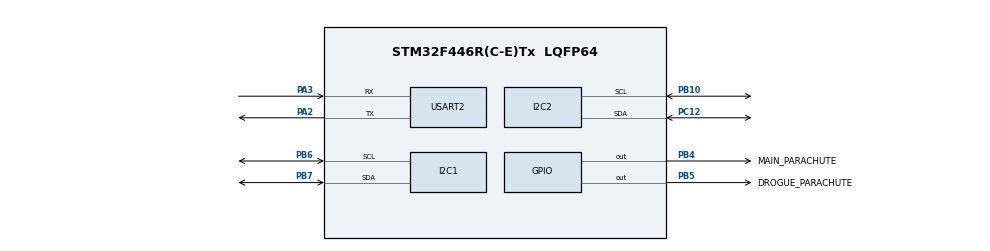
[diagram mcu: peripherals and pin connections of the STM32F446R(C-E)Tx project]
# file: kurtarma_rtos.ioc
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Dma.Request0=USART2_RX
Dma.Request1=USART2_TX
Dma.USART2_RX.0.Direction=DMA_PERIPH_TO_MEMORY
Dma.USART2_RX.0.FIFOMode=DMA_FIFOMODE_DISABLE
Dma.USART2_RX.0.Instance=DMA1_Stream5
Dma.USART2_RX.0.MemDataAlignment=DMA_MDATAALIGN_BYTE
Dma.USART2_RX.0.MemInc=DMA_MINC_ENABLE
Dma.USART2_RX.0.Mode=DMA_NORMAL
Dma.USART2_RX.0.PeriphDataAlignment=DMA_PDATAALIGN_BYTE
Dma.USART2_RX.0.PeriphInc=DMA_PINC_DISABLE
Dma.USART2_RX.0.Priority=DMA_PRIORITY_LOW
Dma.USART2_TX.1.Direction=DMA_MEMORY_TO_PERIPH
Dma.USART2_TX.1.FIFOMode=DMA_FIFOMODE_DISABLE
Dma.USART2_TX.1.Instance=DMA1_Stream6
Dma.USART2_TX.1.MemDataAlignment=DMA_MDATAALIGN_BYTE
Dma.USART2_TX.1.MemInc=DMA_MINC_ENABLE
Dma.USART2_TX.1.Mode=DMA_NORMAL
Dma.USART2_TX.1.PeriphDataAlignment=DMA_PDATAALIGN_BYTE
Dma.USART2_TX.1.PeriphInc=DMA_PINC_DISABLE
Dma.USART2_TX.1.Priority=DMA_PRIORITY_LOW
FREERTOS.Mutexes01=SensorDataMutex,Dynamic,NULL,Available
FREERTOS.Tasks01=defaultTask,24,128,StartDefaultTask,Default,NULL,Dynamic,NULL,NULL;UARTYazdirma,8,256,TransferUARTData,Default,NULL,Dynamic,NULL,NULL;SensorVeriCekme,40,256,PullSensorData,Default,NULL,Dynamic,NULL,NULL;Algoritma,32,256,AlgorithmSwitch,Default,NULL,Dynamic,NULL,NULL;UARTDinleme,24,128,ReceiveUARTData,Default,NULL,Dynamic,NULL,NULL;BMP180Okuma,40,128,BMP180Read,Default,NULL,Dynamic,NULL,NULL;BNO055Okuma,8,128,BNO055Read,Default,NULL,Dynamic,NULL,NULL
FREERTOS.configUSE_NEWLIB_REENTRANT=1
Mcu.Family=STM32F4
Mcu.Name=STM32F446R(C-E)Tx
Mcu.Package=LQFP64
NVIC.DMA1_Stream5_IRQn=true\:5\:0\:false\:false\:true\:true\:false\:true\:true
NVIC.DMA1_Stream6_IRQn=true\:5\:0\:false\:false\:true\:true\:false\:true\:true
NVIC.PVD_IRQn=true\:5\:0\:false\:false\:true\:true\:true\:true\:true
NVIC.PriorityGroup=NVIC_PRIORITYGROUP_4
NVIC.TIM6_DAC_IRQn=true\:15\:0\:false\:false\:true\:false\:false\:true\:true
NVIC.TimeBase=TIM6_DAC_IRQn
NVIC.TimeBaseIP=TIM6
NVIC.USART2_IRQn=true\:5\:0\:false\:false\:true\:true\:true\:true\:true
PA2.Mode=Asynchronous
PA2.Signal=USART2_TX
PA3.Mode=Asynchronous
PA3.Signal=USART2_RX
PB10.Mode=I2C
PB10.Signal=I2C2_SCL
PB4.GPIO_Label=MAIN_PARACHUTE
PB4.Signal=GPIO_Output
PB5.GPIO_Label=DROGUE_PARACHUTE
PB5.Signal=GPIO_Output
PB6.Mode=I2C
PB6.Signal=I2C1_SCL
PB7.Mode=I2C
PB7.Signal=I2C1_SDA
PC12.Mode=I2C
PC12.Signal=I2C2_SDA
PH0-OSC_IN.Mode=HSE-External-Oscillator
PH0-OSC_IN.Signal=RCC_OSC_IN
PH1-OSC_OUT.Mode=HSE-External-Oscillator
PH1-OSC_OUT.Signal=RCC_OSC_OUT
ProjectManager.HeapSize=0x200
ProjectManager.StackSize=0x400
ProjectManager.TargetToolchain=STM32CubeIDE
RCC.CortexFreq_Value=16000000
RCC.USBFreq_Value=96000000
RCC.VCOOutputFreq_Value=192000000
USART2.VirtualMode=VM_ASYNC
VP_FREERTOS_VS_CMSIS_V2.Mode=CMSIS_V2
VP_SYS_VS_tim6.Mode=TIM6
board=custom

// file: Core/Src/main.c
/* USER CODE BEGIN Header */
/**
  ******************************************************************************
  * @file           : main.c
  * @brief          : Main program body
  ******************************************************************************
  * @attention
  *
  * Copyright (c) 2026 STMicroelectronics.
  * All rights reserved.
  *
  * This software is licensed under terms that can be found in the LICENSE file
  * in the root directory of this software component.
  * If no LICENSE file comes with this software, it is provided AS-IS.
  *
  ******************************************************************************
  */
/* USER CODE END Header */
#include "main.h"
#include "cmsis_os.h"
#include "dma.h"
#include "i2c.h"
#include "usart.h"
#include "gpio.h"

/* USER CODE BEGIN Includes */
#include "stdio.h"
#include "math.h"
/* USER CODE END Includes */

/* USER CODE BEGIN PV */
extern uint16_t rx_length;
/* USER CODE END PV */

void SystemClock_Config(void);
void MX_FREERTOS_Init(void);
/* USER CODE BEGIN PFP */

extern osThreadId_t UARTDinlemeHandle;

/* USER CODE END PFP */

int main(void)
{

  /* MCU Configuration--------------------------------------------------------*/

  /* Reset of all peripherals, Initializes the Flash interface and the Systick. */
  HAL_Init();

  /* Configure the system clock */
  SystemClock_Config();

  /* Initialize all configured peripherals */
  MX_GPIO_Init();
  MX_DMA_Init();
  MX_USART2_UART_Init();
  MX_I2C1_Init();
  MX_I2C2_Init();

  /* Init scheduler */
  osKernelInitialize();  /* Call init function for freertos objects (in cmsis_os2.c) */
  MX_FREERTOS_Init();

  /* Start scheduler */
  osKernelStart();

  /* We should never get here as control is now taken by the scheduler */

  /* Infinite loop */
  while (1)
  {

  }
}

void SystemClock_Config(void)
{
  RCC_OscInitTypeDef RCC_OscInitStruct = {0};
  RCC_ClkInitTypeDef RCC_ClkInitStruct = {0};

  /** Configure the main internal regulator output voltage
  */
  __HAL_RCC_PWR_CLK_ENABLE();
  __HAL_PWR_VOLTAGESCALING_CONFIG(PWR_REGULATOR_VOLTAGE_SCALE3);

  /** Initializes the RCC Oscillators according to the specified parameters
  * in the RCC_OscInitTypeDef structure.
  */
  RCC_OscInitStruct.OscillatorType = RCC_OSCILLATORTYPE_HSI;
  RCC_OscInitStruct.HSIState = RCC_HSI_ON;
  RCC_OscInitStruct.HSICalibrationValue = RCC_HSICALIBRATION_DEFAULT;
  RCC_OscInitStruct.PLL.PLLState = RCC_PLL_NONE;
  if (HAL_RCC_OscConfig(&RCC_OscInitStruct) != HAL_OK)
  {
    Error_Handler();
  }

  /** Initializes the CPU, AHB and APB buses clocks
  */
  RCC_ClkInitStruct.ClockType = RCC_CLOCKTYPE_HCLK|RCC_CLOCKTYPE_SYSCLK
                              |RCC_CLOCKTYPE_PCLK1|RCC_CLOCKTYPE_PCLK2;
  RCC_ClkInitStruct.SYSCLKSource = RCC_SYSCLKSOURCE_HSI;
  RCC_ClkInitStruct.AHBCLKDivider = RCC_SYSCLK_DIV1;
  RCC_ClkInitStruct.APB1CLKDivider = RCC_HCLK_DIV1;
  RCC_ClkInitStruct.APB2CLKDivider = RCC_HCLK_DIV1;

  if (HAL_RCC_ClockConfig(&RCC_ClkInitStruct, FLASH_LATENCY_0) != HAL_OK)
  {
    Error_Handler();
  }
}

/* USER CODE BEGIN 4 */
void HAL_UARTEx_RxEventCallback(UART_HandleTypeDef *huart, uint16_t Size) {

    if (huart->Instance == USART2) {
    	rx_length = Size;
        osThreadFlagsSet(UARTDinlemeHandle, 0x0001);
    }
}
/* USER CODE END 4 */

void HAL_TIM_PeriodElapsedCallback(TIM_HandleTypeDef *htim)
{
  if (htim->Instance == TIM6)
  {
    HAL_IncTick();
  }
}

void Error_Handler(void)
{
  __disable_irq();
  while (1)
  {
  }
}

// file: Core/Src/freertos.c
/* USER CODE BEGIN Header */
/**
  ******************************************************************************
  * File Name          : freertos.c
  * Description        : Code for freertos applications
  ******************************************************************************
  * @attention
  *
  * Copyright (c) 2026 STMicroelectronics.
  * All rights reserved.
  *
  * This software is licensed under terms that can be found in the LICENSE file
  * in the root directory of this software component.
  * If no LICENSE file comes with this software, it is provided AS-IS.
  *
  ******************************************************************************
  */
/* USER CODE END Header */

#include "FreeRTOS.h"
#include "task.h"
#include "main.h"
#include "cmsis_os.h"

/* USER CODE BEGIN Includes */
#include "stdio.h"
#include "math.h"
#include "string.h"
#include "i2c.h"
#include "usart.h"
#include "gpio.h"
#include "semphr.h"
#include "bmp180_for_stm32_hal.h"
#include "bno055_stm32.h"
/* USER CODE END Includes */

/* USER CODE BEGIN PM */
#define APOGEE_ALTITUDE 3327.0
#define DETERMINED_ALTITUDE 2400.0
#define MAIN_DEPLOY_ALTITUDE 2300.0

#define SIT_DATA_BUFFER_SIZE 33
#define SUT_DATA_BUFFER_SIZE 33
#define COMMAND_BUFFER_SIZE 2
#define BOOST_DETECTED_BIT 0
#define BURNOUT_DETECTED_BIT 1
#define APOGEE_DETECTED_BIT 2
#define NOSE_DOWN_DETECTED_BIT 3
#define EMRE_DETECTED_BIT 4
#define DROGUE_PARACHUTE_DEPLOYED_BIT 5
#define BELOW_DETERMINED_ALTITUDE_BIT 6
#define MAIN_PARACHUTE_DEPLOYED_BIT 7
/* USER CODE END PM */

/* USER CODE BEGIN Variables */

bno055_vector_t linear_accel;
bno055_vector_t euler_raw;
bno055_vector_t euler_ref;
bno055_vector_t mag;

char msg[256];

float ground_pressure = 0.0f;

float accel_x = 0.0f;
float accel_y = 0.0f;
float accel_z = 0.0f;
float altitude = 0.0f;
float euler_x = 0.0f;
float euler_y = 0.0f;
float euler_z = 0.0f;
float pressure = 0.0f;
float previous_accel_x = 0.0f;
float previous_accel_y = 0.0f;
float previous_accel_z = 0.0f;
float previous_altitude = 0.0f;
float previous_euler_x = 0.0f;
float previous_euler_y = 0.0f;
float previous_euler_z = 0.0f;
float previous_pressure = 0.0f;
float temperature = 0.0f;
float velocity = 0.0f;

uint8_t rx_buffer[100];
uint16_t rx_length;
uint16_t header_index = 0;

uint32_t current_time_ms = 0;
uint32_t prev_time_ms = 0;

uint16_t counter = 0;

uint8_t len = 0;

rocket_status current_status = IDLE;

sensor_status bmp180_status = OFF;
sensor_status bno055_status = OFF;

Sensor_Data current_data;

volatile uint8_t SIT_Task_Active = 0;
volatile uint8_t SUT_Task_Active = 0;
volatile uint16_t Task_Status_Bits = 0x0000;

uint8_t hata_kodu = 0;
/* USER CODE END Variables */
/* Definitions for defaultTask */
osThreadId_t defaultTaskHandle;
const osThreadAttr_t defaultTask_attributes = {
  .name = "defaultTask",
  .stack_size = 128 * 4,
  .priority = (osPriority_t) osPriorityNormal,
};
/* Definitions for UARTYazdirma */
osThreadId_t UARTYazdirmaHandle;
const osThreadAttr_t UARTYazdirma_attributes = {
  .name = "UARTYazdirma",
  .stack_size = 256 * 4,
  .priority = (osPriority_t) osPriorityLow,
};
/* Definitions for SensorVeriCekme */
osThreadId_t SensorVeriCekmeHandle;
const osThreadAttr_t SensorVeriCekme_attributes = {
  .name = "SensorVeriCekme",
  .stack_size = 256 * 4,
  .priority = (osPriority_t) osPriorityHigh,
};
/* Definitions for Algoritma */
osThreadId_t AlgoritmaHandle;
const osThreadAttr_t Algoritma_attributes = {
  .name = "Algoritma",
  .stack_size = 256 * 4,
  .priority = (osPriority_t) osPriorityAboveNormal,
};
/* Definitions for UARTDinleme */
osThreadId_t UARTDinlemeHandle;
const osThreadAttr_t UARTDinleme_attributes = {
  .name = "UARTDinleme",
  .stack_size = 128 * 4,
  .priority = (osPriority_t) osPriorityNormal,
};
/* Definitions for BMP180Okuma */
osThreadId_t BMP180OkumaHandle;
const osThreadAttr_t BMP180Okuma_attributes = {
  .name = "BMP180Okuma",
  .stack_size = 128 * 4,
  .priority = (osPriority_t) osPriorityHigh,
};
/* Definitions for BNO055Okuma */
osThreadId_t BNO055OkumaHandle;
const osThreadAttr_t BNO055Okuma_attributes = {
  .name = "BNO055Okuma",
  .stack_size = 128 * 4,
  .priority = (osPriority_t) osPriorityLow,
};
/* Definitions for SensorDataMutex */
osMutexId_t SensorDataMutexHandle;
const osMutexAttr_t SensorDataMutex_attributes = {
  .name = "SensorDataMutex"
};

/* USER CODE BEGIN FunctionPrototypes */

float CalculateGroundPressure(uint16_t delay, uint16_t sample)
{
	float sum = 0.0f;

	for(int i=0; i<sample; i++)
	{
		sum += BMP180_GetPressure();
		osDelay(delay);
	}

	return sum/sample/100.0f;
}

float CalculateAltitude(float press, float ground_press, float temp)
{
	if(press == 0) return 0;

	float alt = (powf((ground_press / press), 0.190263f) - 1.0f) * (temp + 273.15f) / 0.0065f;
	return alt;
}

uint8_t CheckSum(uint8_t* rx_buffer, uint16_t buffer_length, uint16_t header_index)
{
	uint8_t sum = 0;

	if (rx_length < header_index+buffer_length) return 0;

	for(uint16_t i=header_index; i<header_index+buffer_length; i++)
	{
		sum = (uint8_t)(sum+rx_buffer[i]);
	}

	return sum;
}

void DeployDrogueParachute()
{
	//İlk paraşütü açan fonksiyon
	HAL_GPIO_WritePin(DROGUE_PARACHUTE_GPIO_Port, DROGUE_PARACHUTE_Pin, 1);
	Task_Status_Bits = (Task_Status_Bits | (1<<DROGUE_PARACHUTE_DEPLOYED_BIT));
}

void DeployMainParachute()
{
	//İkinci paraşütü açan fonksiyon
	HAL_GPIO_WritePin(MAIN_PARACHUTE_GPIO_Port, MAIN_PARACHUTE_Pin, 1);
	Task_Status_Bits = (Task_Status_Bits | (1<<MAIN_PARACHUTE_DEPLOYED_BIT));
}

void FloatToArray(float data, uint8_t* arr)
{
	FLOAT32_UINT8_CONVERTER converter;

	converter.data_f32 = data;

	for (int i=0; i<4; i++)
	{
		*(arr+i) = converter.array[3-i];
	}
}

float GetVerticalVelocity(const float current_accel, const float current_altitude, const float prev_altitude, float delta_time)
{
	static float velocity = 0;
	if (delta_time <= 0.0f || delta_time > 1.0f) delta_time = 0.05f;

	float velocity_baro = (current_altitude - prev_altitude) / delta_time;

	float alpha = 0.95f;
	velocity = alpha * (velocity + current_accel * delta_time) + (1.0f - alpha) * velocity_baro;

	return velocity;
}

float LowPassFilter(const float* raw, const float* prev, float lpf_coef)
{
	return (lpf_coef*(*raw) + (1-lpf_coef)*(*prev));
}

void SUTDataRead(uint8_t* rx_buffer, uint16_t rx_length, uint16_t header_index)
{
	if(rx_length < header_index+SUT_DATA_BUFFER_SIZE+3) return;

	if(rx_buffer[header_index+34] == 0x0D && rx_buffer[header_index+35] == 0x0A)
	{
		if(CheckSum(rx_buffer, SUT_DATA_BUFFER_SIZE, header_index) == rx_buffer[header_index+33])
		{
			FLOAT32_UINT8_CONVERTER converter;

			osMutexAcquire(SensorDataMutexHandle, osWaitForever);

			converter.array[3] = rx_buffer[header_index+1];
			converter.array[2] = rx_buffer[header_index+2];
			converter.array[1] = rx_buffer[header_index+3];
			converter.array[0] = rx_buffer[header_index+4];

			current_data.irtifa = converter.data_f32;

			converter.array[3] = rx_buffer[header_index+5];
			converter.array[2] = rx_buffer[header_index+6];
			converter.array[1] = rx_buffer[header_index+7];
			converter.array[0] = rx_buffer[header_index+8];

			current_data.basinc = converter.data_f32;

			converter.array[3] = rx_buffer[header_index+9];
			converter.array[2] = rx_buffer[header_index+10];
			converter.array[1] = rx_buffer[header_index+11];
			converter.array[0] = rx_buffer[header_index+12];

			current_data.ivme_x = converter.data_f32;

			converter.array[3] = rx_buffer[header_index+13];
			converter.array[2] = rx_buffer[header_index+14];
			converter.array[1] = rx_buffer[header_index+15];
			converter.array[0] = rx_buffer[header_index+16];

			current_data.ivme_y = converter.data_f32;

			converter.array[3] = rx_buffer[header_index+17];
			converter.array[2] = rx_buffer[header_index+18];
			converter.array[1] = rx_buffer[header_index+19];
			converter.array[0] = rx_buffer[header_index+20];

			current_data.ivme_z = converter.data_f32;

			converter.array[3] = rx_buffer[header_index+21];
			converter.array[2] = rx_buffer[header_index+22];
			converter.array[1] = rx_buffer[header_index+23];
			converter.array[0] = rx_buffer[header_index+24];

			current_data.aci_x = converter.data_f32;

			converter.array[3] = rx_buffer[header_index+25];
			converter.array[2] = rx_buffer[header_index+26];
			converter.array[1] = rx_buffer[header_index+27];
			converter.array[0] = rx_buffer[header_index+28];

			current_data.aci_y = converter.data_f32;

			converter.array[3] = rx_buffer[header_index+29];
			converter.array[2] = rx_buffer[header_index+30];
			converter.array[1] = rx_buffer[header_index+31];
			converter.array[0] = rx_buffer[header_index+32];

			current_data.aci_z = converter.data_f32;

			osThreadFlagsSet(SensorVeriCekmeHandle, 0x0001);
			osMutexRelease(SensorDataMutexHandle);
		}
	}
}

/* USER CODE END FunctionPrototypes */

void StartDefaultTask(void *argument);
void TransferUARTData(void *argument);
void PullSensorData(void *argument);
void AlgorithmSwitch(void *argument);
void ReceiveUARTData(void *argument);
void BMP180Read(void *argument);
void BNO055Read(void *argument);

void MX_FREERTOS_Init(void); /* (MISRA C 2004 rule 8.1) */

void MX_FREERTOS_Init(void) {
  /* Create the mutex(es) */
  /* creation of SensorDataMutex */
  SensorDataMutexHandle = osMutexNew(&SensorDataMutex_attributes);

  /* Create the thread(s) */
  /* creation of defaultTask */
  defaultTaskHandle = osThreadNew(StartDefaultTask, NULL, &defaultTask_attributes);

  /* creation of UARTYazdirma */
  UARTYazdirmaHandle = osThreadNew(TransferUARTData, NULL, &UARTYazdirma_attributes);

  /* creation of SensorVeriCekme */
  SensorVeriCekmeHandle = osThreadNew(PullSensorData, NULL, &SensorVeriCekme_attributes);

  /* creation of Algoritma */
  AlgoritmaHandle = osThreadNew(AlgorithmSwitch, NULL, &Algoritma_attributes);

  /* creation of UARTDinleme */
  UARTDinlemeHandle = osThreadNew(ReceiveUARTData, NULL, &UARTDinleme_attributes);

  /* creation of BMP180Okuma */
  BMP180OkumaHandle = osThreadNew(BMP180Read, NULL, &BMP180Okuma_attributes);

  /* creation of BNO055Okuma */
  BNO055OkumaHandle = osThreadNew(BNO055Read, NULL, &BNO055Okuma_attributes);

}

void StartDefaultTask(void *argument)
{
  for(;;)
  {
    osDelay(1);
  }
}

void TransferUARTData(void *argument)
{
  /* USER CODE BEGIN TransferUARTData */
	uint32_t next_tick = osKernelGetTickCount();
	uint8_t tx_buffer[50];

  /* Infinite loop */
  for(;;)
  {
	next_tick += 100;

	  if(SUT_Task_Active)
	  {
		  tx_buffer[0] = 0xAA;
		  tx_buffer[1] = (uint8_t)(Task_Status_Bits & 0xFF);
		  tx_buffer[2] = (uint8_t)((Task_Status_Bits >> 8) & 0xFF);
		  tx_buffer[3] = CheckSum(tx_buffer, 3, 0);
		  tx_buffer[4] = 0x0D;
		  tx_buffer[5] = 0x0A;

		  HAL_UART_Transmit_DMA(&huart2, tx_buffer, 6);
	  }

	  if(SIT_Task_Active && bmp180_status == ACTIVE && bno055_status == ACTIVE)
	  {
		  tx_buffer[0] = 0xAB;

		  FloatToArray(altitude, &tx_buffer[1]);
		  FloatToArray(pressure, &tx_buffer[5]);
		  FloatToArray(accel_x, &tx_buffer[9]);
		  FloatToArray(accel_y, &tx_buffer[13]);
		  FloatToArray(accel_z, &tx_buffer[17]);
		  FloatToArray(euler_x, &tx_buffer[21]);
		  FloatToArray(euler_y, &tx_buffer[25]);
		  FloatToArray(euler_z, &tx_buffer[29]);

		  tx_buffer[33] = CheckSum(tx_buffer, SIT_DATA_BUFFER_SIZE, 0);
		  tx_buffer[34] = 0x0D;
		  tx_buffer[35] = 0x0A;

		  HAL_UART_Transmit_DMA(&huart2, tx_buffer, SIT_DATA_BUFFER_SIZE+3);
	  }

    osDelayUntil(next_tick);
  }
  /* USER CODE END TransferUARTData */
}

void PullSensorData(void *argument)
{
  /* USER CODE BEGIN PullSensorData */
	float delta_time = 0;
  /* Infinite loop */
  for(;;)
  {

	  osThreadFlagsWait(0x0001, osFlagsWaitAny, osWaitForever);

	  osMutexAcquire(SensorDataMutexHandle, osWaitForever);

	  current_time_ms = osKernelGetTickCount();
	  delta_time = (current_time_ms - prev_time_ms) / 1000.0f;
	  prev_time_ms = current_time_ms;

	  accel_x = LowPassFilter(&current_data.ivme_x, &previous_accel_x, 0.9f);
	  accel_y = LowPassFilter(&current_data.ivme_y, &previous_accel_y, 0.9f);
	  accel_z = LowPassFilter(&current_data.ivme_z, &previous_accel_z, 0.9f);
	  altitude = LowPassFilter(&current_data.irtifa, &previous_altitude, 0.9f);
	  euler_x = LowPassFilter(&current_data.aci_x, &previous_euler_x, 0.9f);
	  euler_y = LowPassFilter(&current_data.aci_y, &previous_euler_y, 0.9f);
	  euler_z = LowPassFilter(&current_data.aci_z, &previous_euler_z, 0.9f);
	  pressure = LowPassFilter(&current_data.basinc, &previous_pressure, 0.9f);
	  velocity = GetVerticalVelocity(accel_z, altitude, previous_altitude, delta_time);

	  previous_accel_x = accel_x;
	  previous_accel_y = accel_y;
	  previous_accel_z = accel_z;
	  previous_altitude = altitude;
	  previous_euler_x = euler_x;
	  previous_euler_y = euler_y;
	  previous_euler_z = euler_z;
	  previous_pressure = pressure;

	  osMutexRelease(SensorDataMutexHandle);
	  osThreadFlagsSet(AlgoritmaHandle, 0x0001);

  }
  /* USER CODE END PullSensorData */
}

void AlgorithmSwitch(void *argument)
{
  /* USER CODE BEGIN AlgorithmSwitch */
  /* Infinite loop */
  for(;;)
  {

	  osThreadFlagsWait(0x0001, osFlagsWaitAny, osWaitForever);
	  osMutexAcquire(SensorDataMutexHandle, osWaitForever);

	  switch (current_status)
	  {
	  	  case IDLE:
	  		  if(altitude > 50.0f && accel_z > 1.0f)
	  		  {
	  			  counter += 1;
	  			  if (counter < 5) break;
	  			  else
	  			  {
	  				  counter = 0;
		  			  Task_Status_Bits = (Task_Status_Bits | (1<<BOOST_DETECTED_BIT));
		  			  current_status = BOOST;
	  			  }

	  		  }
	  		  else break;

	  	  case BOOST:
	  		  if(accel_z < -9.6f)
	  		  {
	  			  counter += 1;
	  			  if (counter < 5) break;
	  			  else
	  			  {
	  				  counter = 0;
	  				  Task_Status_Bits = (Task_Status_Bits | (1<<BURNOUT_DETECTED_BIT));
	  				  current_status = BURNOUT;
	  			  }
	  		  }

	  		  else
	  		  {
	  			  counter = 0;
	  			  break;
	  		  }

	  	  case BURNOUT:
	  		  if(altitude > APOGEE_ALTITUDE)
	  		  {
	  			  counter += 1;
	  			  if (counter < 5) break;
	  			  else
	  			  {
	  				  counter = 0;
	  				  Task_Status_Bits = (Task_Status_Bits | (1<<APOGEE_DETECTED_BIT));
	  				  current_status = APOGEE;
	  			  }
	  		  }

	  		  else
	  		  {
	  			  counter = 0;
	  			  break;
	  		  }

	  	  case APOGEE:
	  		  if (euler_x < -50 || euler_x > 50 || euler_y < -50 || euler_y > 50)
	  		  {
	  			  counter += 1;
	  			  if (counter < 5) break;
	  			  else
	  			  {
	  				  counter = 0;
	  				Task_Status_Bits = (Task_Status_Bits | (1<<NOSE_DOWN_DETECTED_BIT));
	  				  current_status = NOSE_DOWN;
	  			  }
	  		  }

	  		  else
	  		  {
	  			  counter = 0;
	  			  break;
	  		  }

	  	  case NOSE_DOWN:
	  		  if (velocity < 0.0f)
	  		  {
	  			  counter += 1;
	  			  if (counter < 5) break;
	  			  else
	  			  {
	  				  counter = 0;
	  				Task_Status_Bits = (Task_Status_Bits | (1<<EMRE_DETECTED_BIT));
	  				  DeployDrogueParachute();
	  				  current_status = DROGUE_DESCENT;
	  			  }
	  		  }

	  		  else
	  		  {
	  			  counter = 0;
	  			  break;
	  		  }

	  	  case DROGUE_DESCENT:
	  		  if (altitude < DETERMINED_ALTITUDE)
	  		  {
	  			  counter += 1;
	  			  if (counter < 5) break;
	  			  else
	  			  {
	  				  counter = 0;
	  				Task_Status_Bits = (Task_Status_Bits | (1<<BELOW_DETERMINED_ALTITUDE_BIT));
	  				  current_status = BELOW_DETERMINED_ALTITUDE;
	  			  }
	  		  }

	  		  else
	  		  {
	  			  counter = 0;
	  			  break;
	  		  }

	  	  case BELOW_DETERMINED_ALTITUDE:
	  		  if (altitude < MAIN_DEPLOY_ALTITUDE)
	  		  {
	  			  counter += 1;
	  			  if (counter < 3) break;
	  			  else
	  			  {
	  				  counter = 0;
	  				  DeployMainParachute();
	  				  current_status = MAIN_DESCENT;
	  			  }
	  		  }

	  		  else
	  		  {
	  			  counter = 0;
	  			  break;
	  		  }

	  	  case MAIN_DESCENT:
	  		  if (accel_z < 0.5 && altitude < 100.0f)
	  		  {
	  			  counter += 1;

	  			  if (counter < 5) break;
	  			  else
	  			  {
	  				  counter = 0;
	  				  current_status = LANDED;
	  			  }
	  		  }

	  		  break;

	  	  case LANDED:
		//buzzer togglepin

	  	  default:

	  }

	  osMutexRelease(SensorDataMutexHandle);

    osDelay(50);
  }
  /* USER CODE END AlgorithmSwitch */
}

void ReceiveUARTData(void *argument)
{
  /* USER CODE BEGIN ReceiveUARTData */

	HAL_UARTEx_ReceiveToIdle_DMA(&huart2, rx_buffer, sizeof(rx_buffer));
  /* Infinite loop */
  for(;;)
  {
	  osThreadFlagsWait(0x0001, osFlagsWaitAny, osWaitForever);

	  for (int i = 0; i<rx_length; i++)
	  {
		  if(rx_buffer[i] == 0xAA || rx_buffer[i] == 0xAB)
		  {
			  header_index = i;
			  break;
		  }

	  }

	  if (rx_length >= header_index+COMMAND_BUFFER_SIZE+3 && rx_buffer[header_index] == 0xAA)
	  {

		  if (rx_buffer[header_index+3] == 0x0D && rx_buffer[header_index+4] == 0x0A)
		  {

			  if (rx_buffer[header_index+1] == 0x20 && rx_buffer[header_index+2] == CheckSum(rx_buffer, COMMAND_BUFFER_SIZE, header_index))
			  {
				  SIT_Task_Active = 1;
				  SUT_Task_Active = 0;
				  bno055_status = SETUP;
				  bmp180_status = SETUP;
			  }

			  else if (rx_buffer[header_index+1] == 0x22 && rx_buffer[header_index+2] == CheckSum(rx_buffer, COMMAND_BUFFER_SIZE, header_index))
			  {
				  SIT_Task_Active = 0;
				  SUT_Task_Active = 1;
				  current_status = IDLE;
				  Task_Status_Bits = 0x00;
				  bno055_status = OFF;
				  bmp180_status = OFF;
			  }

			  else if (rx_buffer[header_index+1] == 0x24 && rx_buffer[header_index+2] == CheckSum(rx_buffer, COMMAND_BUFFER_SIZE, header_index))
			  {
				  SIT_Task_Active = 0;
				  SUT_Task_Active = 0;
				  bno055_status = OFF;
				  bmp180_status = OFF;
			  }

		  }
	  }

	  if ((SUT_Task_Active == 1) && rx_buffer[header_index] == 0xAB)
	  {
		  SUTDataRead(rx_buffer, rx_length, header_index);
	  }

	  HAL_UARTEx_ReceiveToIdle_DMA(&huart2, rx_buffer, sizeof(rx_buffer));
  }

  /* USER CODE END ReceiveUARTData */
}

void BMP180Read(void *argument)
{
  /* USER CODE BEGIN BMP180Read */
	BMP180_Init(&hi2c1);
	BMP180_SetOversampling(BMP180_ULTRA);
	BMP180_UpdateCalibrationData();
	ground_pressure = CalculateGroundPressure(26,5);
  /* Infinite loop */
  for(;;)
  {
	  if (bmp180_status == SETUP)
	  {
		  previous_pressure = ground_pressure;
		  bmp180_status = ACTIVE;
	  }

	  if (bmp180_status == ACTIVE)
	  {
		  osMutexAcquire(SensorDataMutexHandle, osWaitForever);

		  current_data.basinc = BMP180_GetPressure() / 100.0f;
		  pressure = LowPassFilter(&current_data.basinc, &previous_pressure, 0.9);
		  temperature = BMP180_GetTemperature();
		  current_data.irtifa = CalculateAltitude(pressure, 1013.25f, temperature);
		  altitude = current_data.irtifa;

		  osMutexRelease(SensorDataMutexHandle);
		  osThreadFlagsSet(AlgoritmaHandle, 0x0001);
	  }

    osDelay(26);
  }
  /* USER CODE END BMP180Read */
}

void BNO055Read(void *argument)
{
  /* USER CODE BEGIN BNO055Read */
	bno055_assignI2C(&hi2c2);
	bno055_setup();
	bno055_setOperationModeNDOF();
	osDelay(300);
  /* Infinite loop */
  for(;;)
  {
	if (bno055_status == SETUP)
	{
		euler_ref = bno055_getVectorEuler();
		bno055_status = ACTIVE;
	}

	if (bno055_status == ACTIVE)
	{
		osMutexAcquire(SensorDataMutexHandle, osWaitForever);

		linear_accel = bno055_getVectorLinearAccel();
		euler_raw = bno055_getVectorEuler();
		mag = bno055_getVectorMagnetometer();

		accel_x = linear_accel.x;
		accel_y = linear_accel.y;
		accel_z = linear_accel.z;

		euler_x = euler_raw.x - euler_ref.x;
		euler_y = euler_raw.y - euler_ref.y;
		euler_z = euler_raw.z - euler_ref.z;

		current_data.aci_x = euler_x;
		current_data.aci_y = euler_y;
		current_data.aci_z = euler_z;

		current_data.ivme_x = accel_x;
		current_data.ivme_y = accel_y;
		current_data.ivme_z = accel_z;

		osMutexRelease(SensorDataMutexHandle);
		osThreadFlagsSet(AlgoritmaHandle, 0x0001);
	}

    osDelay(10);
  }
  /* USER CODE END BNO055Read */
}
